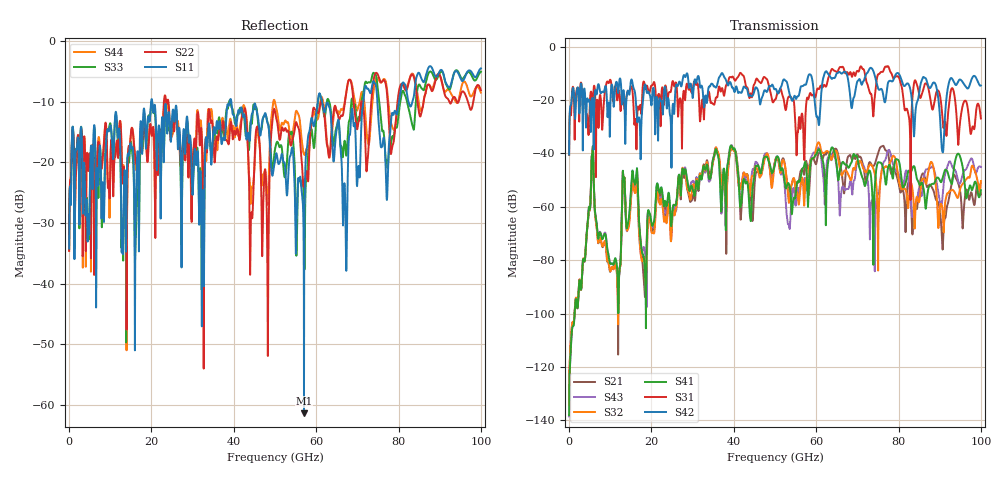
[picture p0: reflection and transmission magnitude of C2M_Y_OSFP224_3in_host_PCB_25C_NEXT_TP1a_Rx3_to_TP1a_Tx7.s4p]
# GHz S RI R 45
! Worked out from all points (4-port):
!   4000 points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, 25 MHz to 100 GHz, reference 45 ohm
!   strongest paths, dB at 25 MHz, 25.02 GHz, 50.02 GHz, 75.03 GHz, 100 GHz:
!     S42: -40.4, -26.7, -15.9, -15.6, -14.6
!     S31: -40.5, -13.6, -19.8, -10.4, -26.9
!     S41: -138.0, -63.2, -43.8, -43.4, -53.8
!     S32: -134.2, -64.3, -43.0, -80.4, -50.4
!     S43: -138.5, -62.8, -42.9, -55.2, -45.1
!     S21: -134.1, -65.2, -43.0, -40.0, -55.4
!   lowest |S11| = -61.4 dB at 57.05 GHz (marker M1), VSWR 1.00, Z = 45.1 - j0.0298 ohm
!   |S11| at or under -10 dB: start of sweep to 19.94 GHz; 20.2 GHz to 39.02 GHz (18.81 GHz wide, 63.5 % of centre); 39.41 GHz to 60.4 GHz (20.99 GHz wide, 42.1 % of centre) (the widest 3 of 6)
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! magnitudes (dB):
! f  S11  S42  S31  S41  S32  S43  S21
! 25 MHz  -34.2  -40.4  -40.5  -138.0  -134.2  -138.5  -134.1
! 5.675 GHz  -24.4  -19.2  -22.6  -40.2  -40.3  -40.1  -40.4
! 12.03 GHz  -15.0  -16.3  -16.5  -94.8  -91.9  -92.3  -92.2
! 15.6 GHz  -18.5  -15.1  -20.5  -48.4  -51.8  -50.2  -50.0
! 18.32 GHz  -11.7  -14.6  -13.8  -81.5  -79.3  -75.7  -91.2
! 57.05 GHz  -61.4  -14.4  -40.4  -44.9  -58.8  -50.9  -48.0
! 100 GHz  -4.5  -14.6  -26.9  -53.8  -50.4  -45.1  -55.4
